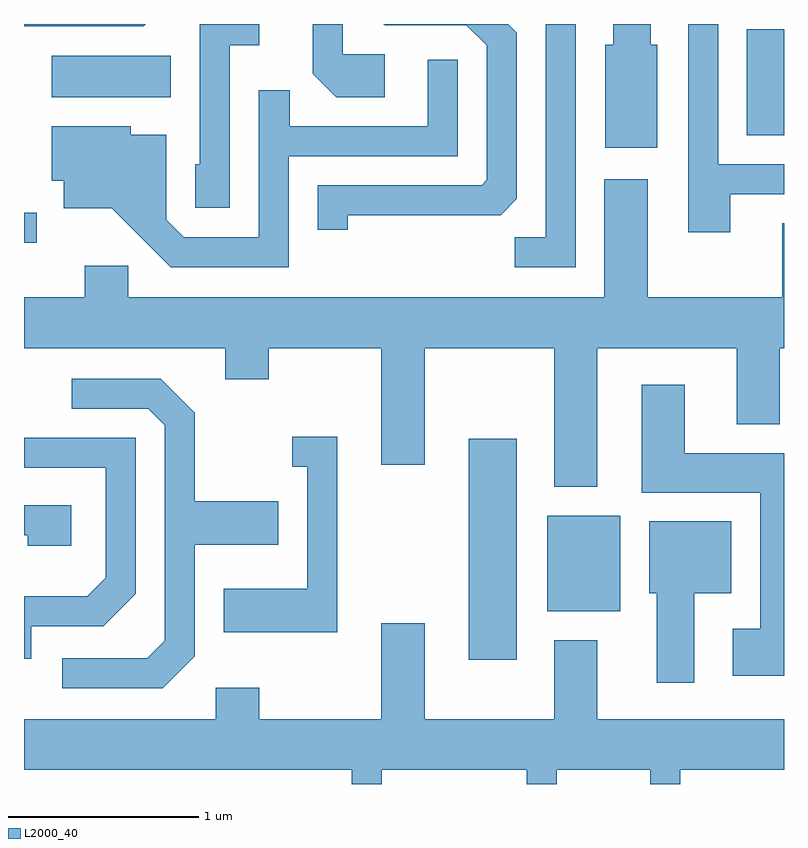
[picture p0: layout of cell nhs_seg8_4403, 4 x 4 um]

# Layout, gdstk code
import gdstk
lib = gdstk.Library(unit=1e-6, precision=1e-09)
def R(c, l, rs):  # rectangles x0, y0, x1, y1
    for r in rs: c.add(gdstk.rectangle(r[:2], r[2:], *l))
def P(c, l, *ps):  # polygons
    for p in ps: c.add(gdstk.Polygon(p, *l))
L2000_40 = (2000, 40)

nhs_seg8_4403 = lib.new_cell('nhs_seg8_4403')
R(nhs_seg8_4403, L2000_40, [(319.951,1836.996,320.204,1838.159), (320.366,1837.251,320.749,1837.754), (317.611,1839.191,317.678,1839.349), (321.416,1839.756,321.611,1840.314), (317.756,1839.956,318.384,1840.174)])
P(nhs_seg8_4403, L2000_40, [(318.694,1840.231),(318.848,1840.231),(318.848,1840.342),(318.536,1840.342),(318.536,1839.604),(318.511,1839.604),(318.511,1839.376),(318.694,1839.376)],
  [(319.509,1840.184),(319.289,1840.184),(319.289,1840.342),(319.131,1840.342),(319.131,1840.079),(319.254,1839.956),(319.509,1839.956)],
  [(318.253,1840.342),(317.611,1840.342),(317.611,1840.331),(318.242,1840.331)],
  [(319.314,1839.336),(320.119,1839.336),(320.204,1839.422),(320.204,1840.297),(320.159,1840.342),(319.503,1840.342),(319.509,1840.336),(319.939,1840.336),(320.046,1840.229),(320.046,1839.522),(320.019,1839.494),(319.156,1839.494),(319.156,1839.258),(319.314,1839.258)],
  [(320.514,1840.342),(320.356,1840.342),(320.356,1839.219),(320.193,1839.219),(320.193,1839.061),(320.514,1839.061)],
  [(320.944,1840.234),(320.909,1840.234),(320.909,1840.342),(320.711,1840.342),(320.711,1840.234),(320.671,1840.234),(320.671,1839.691),(320.944,1839.691)],
  [(321.329,1839.446),(321.611,1839.446),(321.611,1839.604),(321.264,1839.604),(321.264,1840.342),(321.106,1840.342),(321.106,1839.246),(321.329,1839.246)],
  [(319.004,1839.646),(319.894,1839.646),(319.894,1840.153),(319.736,1840.153),(319.736,1839.804),(319.009,1839.804),(319.009,1839.993),(318.846,1839.993),(318.846,1839.219),(318.452,1839.219),(318.359,1839.312),(318.359,1839.759),(318.174,1839.759),(318.174,1839.804),(317.756,1839.804),(317.756,1839.516),(317.821,1839.516),(317.821,1839.371),(318.074,1839.371),(318.384,1839.061),(319.004,1839.061)],
  [(320.629,1838.636),(321.361,1838.636),(321.361,1838.236),(321.589,1838.236),(321.589,1838.636),(321.611,1838.636),(321.611,1839.294),(321.601,1839.294),(321.601,1838.904),(320.894,1838.904),(320.894,1839.524),(320.666,1839.524),(320.666,1838.904),(318.159,1838.904),(318.159,1839.069),(317.931,1839.069),(317.931,1838.904),(317.611,1838.904),(317.611,1838.636),(318.671,1838.636),(318.671,1838.471),(318.899,1838.471),(318.899,1838.636),(319.491,1838.636),(319.491,1838.021),(319.719,1838.021),(319.719,1838.636),(320.401,1838.636),(320.401,1837.906),(320.629,1837.906)],
  [(318.509,1837.014),(318.509,1837.601),(318.949,1837.601),(318.949,1837.829),(318.509,1837.829),(318.509,1838.297),(318.332,1838.474),(317.863,1838.474),(317.863,1838.316),(318.264,1838.316),(318.351,1838.229),(318.351,1837.097),(318.259,1837.004),(317.813,1837.004),(317.813,1836.846),(318.342,1836.846)],
  [(321.611,1838.084),(321.089,1838.084),(321.089,1838.444),(320.861,1838.444),(320.861,1837.876),(321.486,1837.876),(321.486,1837.159),(321.341,1837.159),(321.341,1836.911),(321.611,1836.911)],
  [(319.259,1838.169),(319.023,1838.169),(319.023,1838.011),(319.101,1838.011),(319.101,1837.369),(318.661,1837.369),(318.661,1837.141),(319.259,1837.141)],
  [(317.649,1837.171),(318.027,1837.171),(318.199,1837.344),(318.199,1838.164),(317.611,1838.164),(317.611,1838.006),(318.041,1838.006),(318.041,1837.427),(317.944,1837.329),(317.611,1837.329),(317.611,1837.001),(317.649,1837.001)],
  [(317.859,1837.809),(317.611,1837.809),(317.611,1837.651),(317.631,1837.651),(317.631,1837.596),(317.859,1837.596)],
  [(321.139,1837.346),(321.334,1837.346),(321.334,1837.724),(320.901,1837.724),(320.901,1837.346),(320.941,1837.346),(320.941,1836.876),(321.139,1836.876)],
  [(319.494,1836.416),(320.256,1836.416),(320.256,1836.342),(320.414,1836.342),(320.414,1836.416),(320.906,1836.416),(320.906,1836.342),(321.064,1836.342),(321.064,1836.416),(321.611,1836.416),(321.611,1836.684),(320.629,1836.684),(320.629,1837.099),(320.401,1837.099),(320.401,1836.684),(319.719,1836.684),(319.719,1837.189),(319.491,1837.189),(319.491,1836.684),(318.849,1836.684),(318.849,1836.849),(318.621,1836.849),(318.621,1836.684),(317.611,1836.684),(317.611,1836.416),(319.336,1836.416),(319.336,1836.342),(319.494,1836.342)])

lib.write_gds('nhs_seg8_4403.gds')
